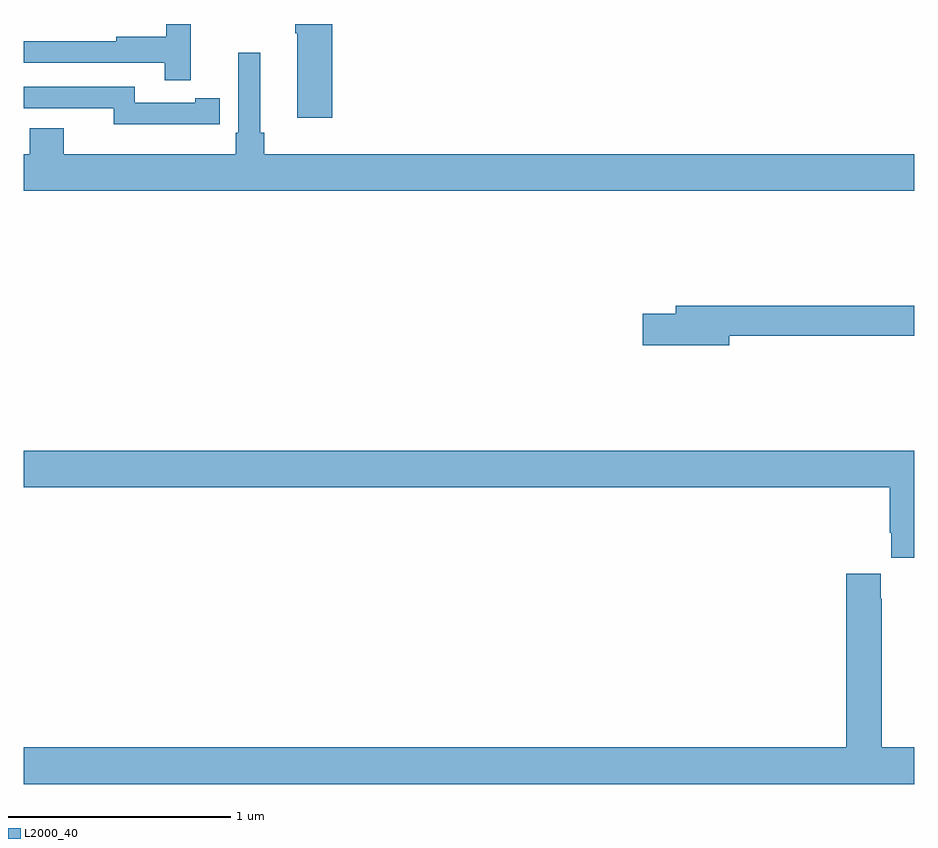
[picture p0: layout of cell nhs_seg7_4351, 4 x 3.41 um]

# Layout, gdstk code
import gdstk
lib = gdstk.Library(unit=1e-6, precision=1e-09)
def P(c, l, *ps):  # polygons
    for p in ps: c.add(gdstk.Polygon(p, *l))
L2000_40 = (2000, 40)

nhs_seg7_4351 = lib.new_cell('nhs_seg7_4351')
P(nhs_seg7_4351, L2000_40, [(385.751,1032),(385.641,1032),(385.641,1031.942),(385.417,1031.942),(385.417,1031.922),(385,1031.922),(385,1031.826),(385.633,1031.826),(385.633,1031.748),(385.751,1031.748)],
  [(386.387,1032),(386.221,1032),(386.221,1031.959),(386.228,1031.959),(386.228,1031.58),(386.387,1031.58)],
  [(389,1031.416),(386.081,1031.416),(386.081,1031.512),(386.062,1031.512),(386.062,1031.872),(385.965,1031.872),(385.965,1031.512),(385.952,1031.512),(385.952,1031.416),(385.18,1031.416),(385.18,1031.533),(385.028,1031.533),(385.028,1031.416),(385,1031.416),(385,1031.252),(389,1031.252)],
  [(385.772,1031.55),(385.88,1031.55),(385.88,1031.666),(385.772,1031.666),(385.772,1031.646),(385.5,1031.646),(385.5,1031.718),(385,1031.718),(385,1031.622),(385.404,1031.622),(385.404,1031.549),(385.772,1031.549)],
  [(388.168,1030.6),(389,1030.6),(389,1030.736),(387.929,1030.736),(387.929,1030.7),(387.78,1030.7),(387.78,1030.558),(388.168,1030.558)],
  [(389,1030.084),(385,1030.084),(385,1029.92),(388.889,1029.92),(388.889,1029.715),(388.895,1029.715),(388.895,1029.603),(389,1029.603)],
  [(389,1028.752),(388.854,1028.752),(388.854,1029.419),(388.849,1029.419),(388.849,1029.532),(388.694,1029.532),(388.694,1028.752),(385,1028.752),(385,1028.588),(389,1028.588)])

lib.write_gds('nhs_seg7_4351.gds')
